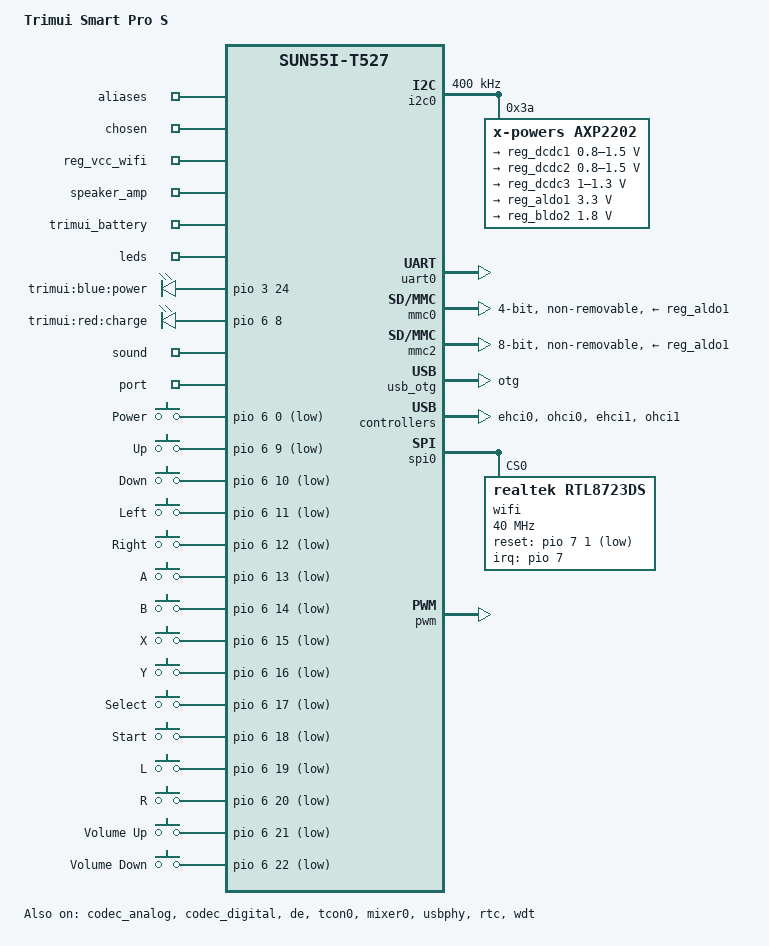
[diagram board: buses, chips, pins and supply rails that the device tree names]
// SPDX-License-Identifier: (GPL-2.0+ OR MIT)
/*
 * Device Tree Source for Trimui Smart Pro S
 * Based on Allwinner T527 (sun55i)
 * Compatible with Linux mainline kernel
 * Copyright (C) 2026 Midgy BALON <midgy971@gmail.com>
 */

#include "sun55i-t527.dtsi"
#include <dt-bindings/gpio/gpio.h>
#include <dt-bindings/interrupt-controller/irq.h>
#include <dt-bindings/input/linux-event-codes.h>

/ {
	model = "Trimui Smart Pro S";
	compatible = "trimui,smart-pro-s", "allwinner,sun55i-t527";

	aliases {
		serial0 = &uart0;
		mmc0 = &mmc0;
		mmc1 = &mmc1;
		mmc2 = &mmc2;
	};

	chosen {
		stdout-path = "serial0:115200n8";
	};

	/* Fixed regulators */
	reg_vcc_wifi: regulator-vcc-wifi {
		compatible = "regulator-fixed";
		regulator-name = "vcc-wifi";
		regulator-boot-on;
		regulator-always-on;
	};

	/* External audio amplifier (speakers) */
	speaker_amp: loudspeaker-amplifier {
		compatible = "simple-audio-amplifier";
		enable-gpios = <&pio 7 6 GPIO_ACTIVE_HIGH>; /* PH6 */
		sound-name-prefix = "Speaker Amp";
	};

	/* Battery */
	trimui_battery: battery {
		compatible = "simple-battery";
		charge-full-design-microamp-hours = <5000000>; /* 5000 mAh */
		energy-full-design-microwatt-hours = <18500000>;
		voltage-min-design-microvolt = <3000000>; /* 3.0V */
		voltage-max-design-microvolt = <4200000>; /* 4.2V */
		ocv-capacity-table-0 = <
			4200000 100 4150000 95 4110000 90
			4060000 85 4010000 80 3960000 75
			3910000 70 3870000 65 3830000 60
			3790000 55 3760000 50 3730000 45
			3700000 40 3680000 35 3650000 30
			3620000 25 3590000 20 3560000 15
			3510000 10 3430000 5 3000000 0
		>;
	};

	/* LEDs */
	leds {
		compatible = "gpio-leds";

		power_led: led-power {
			label = "trimui:blue:power";
			gpios = <&pio 3 24 GPIO_ACTIVE_HIGH>;
			default-state = "on";
		};

		charge_led: led-charge {
			label = "trimui:red:charge";
			gpios = <&pio 6 8 GPIO_ACTIVE_HIGH>;
			default-state = "off";
		};
	};

	/* Sound card */
	sound {
		compatible = "simple-audio-card";
		simple-audio-card,name = "Trimui Smart Pro Audio";
		simple-audio-card,format = "i2s";
		simple-audio-card,widgets =
			"Headphone", "Headphone Jack",
			"Speaker", "Internal Speakers",
			"Microphone", "Internal Microphone";
		simple-audio-card,routing =
			"Headphone Jack", "HPOUTL",
			"Headphone Jack", "HPOUTR",
			"Internal Speakers", "LINEOUTL",
			"Internal Speakers", "LINEOUTR",
			"MIC1", "Internal Microphone";

		simple-audio-card,cpu {
			sound-dai = <&codec_analog>;
		};

		simple-audio-card,codec {
			sound-dai = <&codec_digital>;
		};
	};
};

/* --- PMIC (AXP2202) --- */
&i2c0 {
	status = "okay";
	clock-frequency = <400000>;

	axp2202: pmic@3a {
		compatible = "x-powers,axp2202";
		reg = <0x3a>;
		interrupt-parent = <&nmi_intc>;
		interrupts = <0 IRQ_TYPE_LEVEL_LOW>;
		interrupt-controller;
		#interrupt-cells = <1>;

		regulators {
			reg_dcdc1: dcdc1 {
				regulator-name = "vdd-cpu";
				regulator-min-microvolt = <800000>;
				regulator-max-microvolt = <1500000>;
				regulator-always-on;
			};

			reg_dcdc2: dcdc2 {
				regulator-name = "vdd-gpu";
				regulator-min-microvolt = <800000>;
				regulator-max-microvolt = <1500000>;
				regulator-always-on;
			};

			reg_dcdc3: dcdc3 {
				regulator-name = "vdd-sys";
				regulator-min-microvolt = <1000000>;
				regulator-max-microvolt = <1300000>;
				regulator-always-on;
			};

			reg_aldo1: aldo1 {
				regulator-name = "vcc-3v3";
				regulator-min-microvolt = <3300000>;
				regulator-max-microvolt = <3300000>;
				regulator-always-on;
			};

			reg_bldo2: bldo2 {
				regulator-name = "vcc-1v8";
				regulator-min-microvolt = <1800000>;
				regulator-max-microvolt = <1800000>;
				regulator-always-on;
			};
		};
	};
};

/* --- Audio --- */
&codec_analog {
	cpvin-supply = <&reg_bldo2>;
	avcc-supply = <&reg_aldo1>;
	status = "okay";
};

&codec_digital {
	status = "okay";
};

/* --- UART --- */
&uart0 {
	status = "okay";
	pinctrl-names = "default";
	pinctrl-0 = <&uart0_pb_pins>;
};

/* --- MMC --- */
&mmc0 {
	status = "okay";
	bus-width = <4>;
	non-removable;
	cap-mmc-highspeed;
	disable-wp;
	vmmc-supply = <&reg_aldo1>;
	pinctrl-names = "default";
	pinctrl-0 = <&mmc0_pins>;
};

&mmc2 {
	status = "okay";
	bus-width = <8>;
	non-removable;
	cap-mmc-highspeed;
	disable-wp;
	vmmc-supply = <&reg_aldo1>;
	pinctrl-names = "default";
	pinctrl-0 = <&mmc2_pins>;
};

/* --- Display --- */
&de {
	status = "okay";
};

&tcon0 {
	status = "okay";
};

&mixer0 {
	status = "okay";
};

panel: panel {
	compatible = "innolux,gc9503";
	backlight = <&backlight>;
	enable-gpios = <&pio 3 24 GPIO_ACTIVE_HIGH>;
	pinctrl-names = "default";
	pinctrl-0 = <&lcd0_rgb666_pins>;

	port {
		panel_in: endpoint {
			remote-endpoint = <&tcon0_out>;
		};
	};
};

&tcon0_out {
	remote-endpoint = <&panel_in>;
};

backlight: backlight {
	compatible = "pwm-backlight";
	pwms = <&pwm 0 0 PWM_POLARITY_INVERTED>;
	brightness-levels = <0 10 20 30 40 50 60 70 80 90 100>;
	default-brightness-level = <100>;
	status = "okay";
};

/* --- GPIO Keys --- */
gpio-keys {
	compatible = "gpio-keys";
	#address-cells = <0>;
	#size-cells = <0>;

	button-power {
		label = "Power";
		linux,code = <KEY_POWER>;
		gpios = <&pio 6 0 GPIO_ACTIVE_LOW>;
		wakeup-source;
	};

	button-up {
		label = "Up";
		linux,code = <KEY_UP>;
		gpios = <&pio 6 9 GPIO_ACTIVE_LOW>;
	};

	button-down {
		label = "Down";
		linux,code = <KEY_DOWN>;
		gpios = <&pio 6 10 GPIO_ACTIVE_LOW>;
	};

	button-left {
		label = "Left";
		linux,code = <KEY_LEFT>;
		gpios = <&pio 6 11 GPIO_ACTIVE_LOW>;
	};

	button-right {
		label = "Right";
		linux,code = <KEY_RIGHT>;
		gpios = <&pio 6 12 GPIO_ACTIVE_LOW>;
	};

	button-a {
		label = "A";
		linux,code = <KEY_A>;
		gpios = <&pio 6 13 GPIO_ACTIVE_LOW>;
	};

	button-b {
		label = "B";
		linux,code = <KEY_B>;
		gpios = <&pio 6 14 GPIO_ACTIVE_LOW>;
	};

	button-x {
		label = "X";
		linux,code = <KEY_X>;
		gpios = <&pio 6 15 GPIO_ACTIVE_LOW>;
	};

	button-y {
		label = "Y";
		linux,code = <KEY_Y>;
		gpios = <&pio 6 16 GPIO_ACTIVE_LOW>;
	};

	button-select {
		label = "Select";
		linux,code = <KEY_SELECT>;
		gpios = <&pio 6 17 GPIO_ACTIVE_LOW>;
	};

	button-start {
		label = "Start";
		linux,code = <KEY_START>;
		gpios = <&pio 6 18 GPIO_ACTIVE_LOW>;
	};

	button-l {
		label = "L";
		linux,code = <KEY_L>;
		gpios = <&pio 6 19 GPIO_ACTIVE_LOW>;
	};

	button-r {
		label = "R";
		linux,code = <KEY_R>;
		gpios = <&pio 6 20 GPIO_ACTIVE_LOW>;
	};

	button-volume-up {
		label = "Volume Up";
		linux,code = <KEY_VOLUMEUP>;
		gpios = <&pio 6 21 GPIO_ACTIVE_LOW>;
	};

	button-volume-down {
		label = "Volume Down";
		linux,code = <KEY_VOLUMEDOWN>;
		gpios = <&pio 6 22 GPIO_ACTIVE_LOW>;
	};
};

/* --- USB --- */
&usb_otg {
	status = "okay";
	dr_mode = "otg";
};

&ehci0 {
	status = "okay";
};

&ohci0 {
	status = "okay";
};

&ehci1 {
	status = "okay";
};

&ohci1 {
	status = "okay";
};

&usbphy {
	status = "okay";
	usb0_id_det-gpios = <&pio 6 7 GPIO_ACTIVE_LOW>;
	usb0_vbus-supply = <&reg_vcc_wifi>;
	usb1_vbus-supply = <&reg_vcc_wifi>;
};

/* --- Wi-Fi/Bluetooth (RTL8723DS) --- */
&spi0 {
	status = "okay";
	pinctrl-names = "default";
	pinctrl-0 = <&spi0_pins>;

	wifi: wifi@0 {
		compatible = "realtek,rtl8723ds";
		reg = <0>;
		spi-max-frequency = <40000000>;
		interrupt-parent = <&pio>;
		interrupts = <7 IRQ_TYPE_LEVEL_LOW>;
		reset-gpios = <&pio 7 1 GPIO_ACTIVE_LOW>;
		32k-clock = <&rtc CLK_IOSC>;
	};
};

/* --- PWM --- */
&pwm {
	status = "okay";
	pinctrl-names = "default";
	pinctrl-0 = <&pwm0_pins>;
};

/* --- RTC --- */
&rtc {
	status = "okay";
};

/* --- Watchdog --- */
&wdt {
	status = "okay";
};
